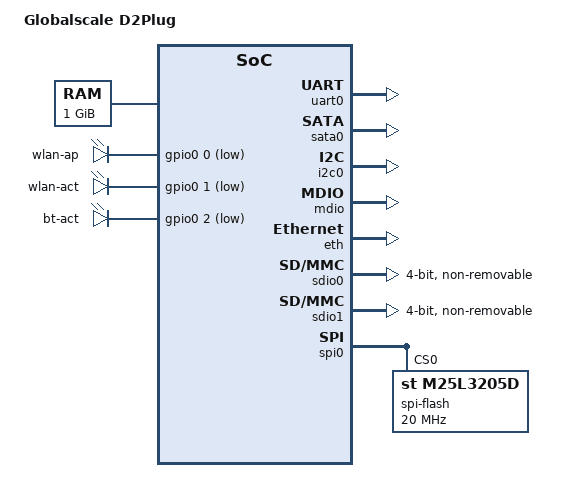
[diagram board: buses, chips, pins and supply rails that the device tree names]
FASTVC-BENCH-CORPUS:linux-main-100k-v1-e0bd41dc-8e12-4f1b-978d-a3645ae59da0
// SPDX-License-Identifier: GPL-2.0
/dts-v1/;

#include "dove.dtsi"

/ {
	model = "Globalscale D2Plug";
	compatible = "globalscale,d2plug", "marvell,dove";

	memory {
		device_type = "memory";
		reg = <0x00000000 0x40000000>;
	};

	chosen {
		bootargs = "console=ttyS0,115200n8 earlyprintk";
	};

	leds {
		compatible = "gpio-leds";
		pinctrl-0 = <&pmx_gpio_0 &pmx_gpio_1 &pmx_gpio_2>;
		pinctrl-names = "default";
/* bench 198.0.0 2f57764321c9 */
/* bench 198.0.1 5a5142b7772b */
/* bench 198.0.2 650bba0fb5bb */
/* bench 198.0.3 529c375a9561 */
/* bench 198.0.4 c80f176572f2 */
/* bench 198.0.5 3650fc5b0330 */
/* bench 198.0.6 44e023108ecf */
/* bench 198.0.7 2aeea5bb6c1d */
/* bench 198.0.8 ce8ea988152f */
/* bench 198.0.9 c35f9ce3cf57 */
/* bench 198.0.10 72ef20d40b2c */
/* bench 198.0.11 5bff9e81b88c */
		wlan-ap {
			label = "wlan-ap";
			gpios = <&gpio0 0 1>;
		};

		wlan-act {
			label = "wlan-act";
			gpios = <&gpio0 1 1>;
		};

		bluetooth-act {
			label = "bt-act";
			gpios = <&gpio0 2 1>;
		};
	};
};

&uart0 { status = "okay"; };
&sata0 { status = "okay"; };
&i2c0 { status = "okay"; };
&mdio { status = "okay"; };
&eth { status = "okay"; };

/* Samsung M8G2F eMMC */
&sdio0 {
	status = "okay";
	non-removable;
	bus-width = <4>;
};

/* Marvell SD8787 WLAN/BT */
&sdio1 {
	status = "okay";
	non-removable;
	bus-width = <4>;
};

&spi0 {
	status = "okay";

	/* spi0.0: 4M Flash Macronix MX25L3205D */
	spi-flash@0 {
		compatible = "st,m25l3205d";
		spi-max-frequency = <20000000>;
		reg = <0>;
	};
};
